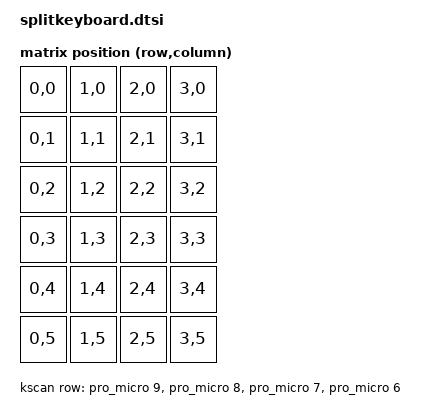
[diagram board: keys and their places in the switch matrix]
#include <physical_layouts.dtsi>
#include <dt-bindings/zmk/matrix_transform.h>

/ {
    chosen {
        zmk,physical-layout = &layout;
    };

    kscan: kscan {
        compatible = "zmk,kscan-gpio-matrix";
        diode-direction = "col2row";

        row-gpios = <&pro_micro 9 (GPIO_ACTIVE_HIGH | GPIO_PULL_DOWN)>,
                    <&pro_micro 8 (GPIO_ACTIVE_HIGH | GPIO_PULL_DOWN)>,
                    <&pro_micro 7 (GPIO_ACTIVE_HIGH | GPIO_PULL_DOWN)>,
                    <&pro_micro 6 (GPIO_ACTIVE_HIGH | GPIO_PULL_DOWN)>;
    };

    transform: matrix_transform {
        compatible = "zmk,matrix-transform";
        rows = <4>;
        columns = <6>;

        map = <
                RC(0, 0) RC(0, 1) RC(0, 2) RC(0, 3) RC(0, 4) RC(0, 5) 
                RC(1, 0) RC(1, 1) RC(1, 2) RC(1, 3) RC(1, 4) RC(1, 5) 
                RC(2, 0) RC(2, 1) RC(2, 2) RC(2, 3) RC(2, 4) RC(2, 5) 
                RC(3, 0) RC(3, 1) RC(3, 2) RC(3, 3) RC(3, 4) RC(3, 5) 
        >;
    };

    layout: layout {
        compatible = "zmk,physical-layout";
        display-name = "Split Ortho 4*3";
        transform = <&transform>;
        kscan = <&kscan>;

        keys  //                     w   h    x    y     rot    rx    ry
            = <&key_physical_attrs 100 100    0    0       0     0     0>
            , <&key_physical_attrs 100 100    0  100       0     0     0>
            , <&key_physical_attrs 100 100    0  200       0     0     0>
            , <&key_physical_attrs 100 100    0  300       0     0     0>
            , <&key_physical_attrs 100 100    0  400       0     0     0>
            , <&key_physical_attrs 100 100    0  500       0     0     0>
            , <&key_physical_attrs 100 100  100    0       0     0     0>
            , <&key_physical_attrs 100 100  100  100       0     0     0>
            , <&key_physical_attrs 100 100  100  200       0     0     0>
            , <&key_physical_attrs 100 100  100  300       0     0     0>
            , <&key_physical_attrs 100 100  100  400       0     0     0>
            , <&key_physical_attrs 100 100  100  500       0     0     0>
            , <&key_physical_attrs 100 100  200    0       0     0     0>
            , <&key_physical_attrs 100 100  200  100       0     0     0>
            , <&key_physical_attrs 100 100  200  200       0     0     0>
            , <&key_physical_attrs 100 100  200  300       0     0     0>
            , <&key_physical_attrs 100 100  200  400       0     0     0>
            , <&key_physical_attrs 100 100  200  500       0     0     0>
            , <&key_physical_attrs 100 100  300    0       0     0     0>
            , <&key_physical_attrs 100 100  300  100       0     0     0>
            , <&key_physical_attrs 100 100  300  200       0     0     0>
            , <&key_physical_attrs 100 100  300  300       0     0     0>
            , <&key_physical_attrs 100 100  300  400       0     0     0>
            , <&key_physical_attrs 100 100  300  500       0     0     0>
            ;
    };
};
